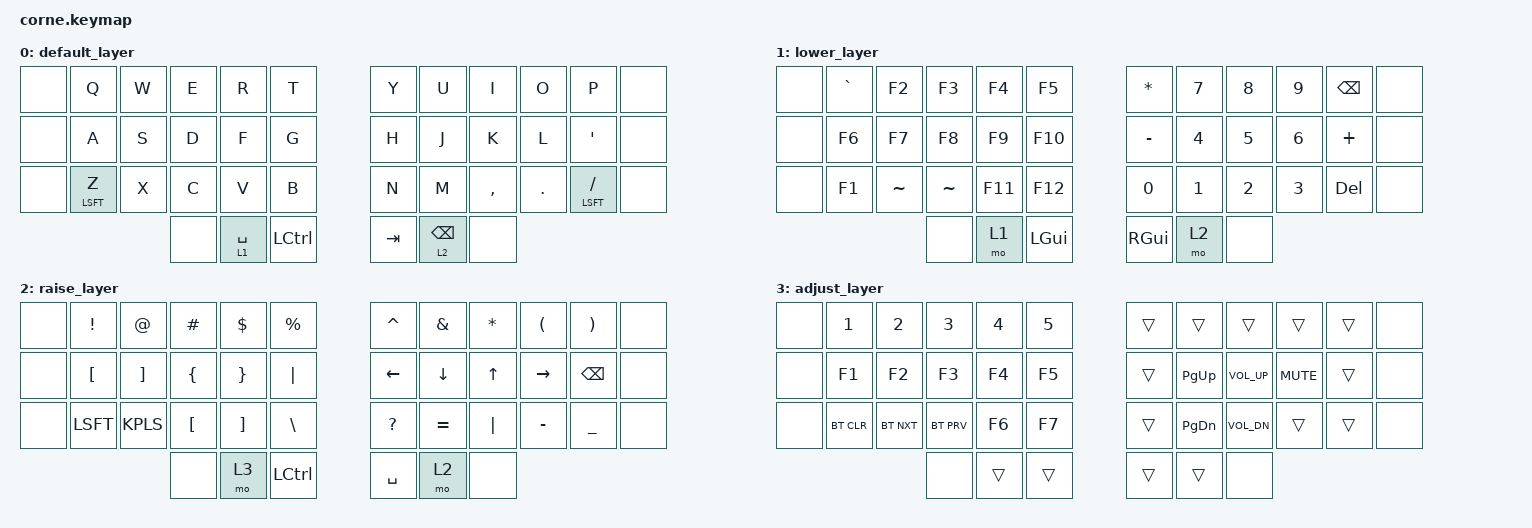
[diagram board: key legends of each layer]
/*
 * Copyright (c) 2020 The ZMK Contributors
 *
 * SPDX-License-Identifier: MIT
 */

#include <behaviors.dtsi>
#include <dt-bindings/zmk/keys.h>
#include <dt-bindings/zmk/bt.h>


#define DEFAULT 0
#define LOWER   1
#define RAISE   2
#define ADJUST  3
#define LWR LOWER
#define RSE RAISE
#define ADJ ADJUST

&mt {
    flavor = "tap-preferred";
    tapping-term-ms = <250>;
    quick_tap_ms = <180>;
};

&lt {
    /* flavor = "balanced"; */
    quick_tap_ms = <200>;
    tapping-term-ms = <180>;
};

/ {
        combos {
           compatible = "zmk,combos";
           combo_esc {
            timeout-ms = <50>;
            key-positions = <13 14>;
            bindings = <&kp ESC>;
        };
        
         combo_tab {
            timeout-ms = <50>;
            key-positions = <1 2>;
            bindings = <&kp TAB>;
        };
        
            combo_bspc {
            timeout-ms = <50>;
            key-positions = <9 10>;
            bindings = <&kp BSPC>;
        };
        
            combo_lalt {
            timeout-ms = <50>;
            key-positions = <14 15>;
            bindings = <&kp LALT>;
        };
        
            combo_lgui {
            timeout-ms = <50>;
            key-positions = <15 16>;
            bindings = <&kp LGUI>;
        };
        
        
            combo_ret {
            timeout-ms = <50>;
            key-positions = <21 22>;
            bindings = <&kp RET>;
        };
        
            combo_ralt {                                                                                                                          
            timeout-ms = <50>;                                                                                                                    
            key-positions = <19 20>;                                                                                                                
            bindings = <&kp RALT>;                                                                                                                
        };

	    combo_rgui {
	    timeout-ms = <50>;
	    key-positions = <20 21>;
	    bindings = <&kp RGUI>;
	};
           combo_lpar {
              timeout-ms = <50>;
              key-positions = <25 26>;
              bindings = <&kp LPAR>;
        };

           combo_rpar {
              timeout-ms = <50>;
              key-positions = <33 34>;
              bindings = <&kp RPAR>;
          };
        };

        conditional_layers {
            compatible = "zmk,conditional-layers";
            tri_layer {
                if-layers = <LOWER RAISE>;
                then-layer = <ADJUST>;
            };
        };

        keymap {
                compatible = "zmk,keymap";

                default_layer {
                        bindings = <
         &none  &kp Q &kp W &kp E &kp R &kp T 				&kp Y &kp U  &kp I &kp O   &kp P &none
	 &none  &kp A &kp S &kp D &kp F &kp G 			        &kp H &kp J  &kp K &kp L   &kp SQT &none
	 &none  &mt LSFT Z &kp X &kp C &kp V &kp B			&kp N &kp M  &kp CMMA &kp DOT &mt LSFT FSLH &none
          	&none	&lt 1 SPC &kp LCTL  				&kp TAB &lt 2 BSPC &none
   /*&none &kp Q      &kp W      &kp E       &kp R        &kp T         &kp Y         &kp U        &kp I        &kp O      &kp P         &none
   &none &mt LCMD A &mt RALT S &mt LCTRL D &mt LSHFT F  &kp G         &kp H         &mt RSHFT J  &mt RCTRL K  &mt RALT L &mt RCMD SEMI &none
   &none &kp Z      &mt LALT X &kp C       &kp V        &kp B         &kp N         &kp M        &kp COMMA    &kp DOT    &kp FSLH      &none
                               &lt RSE ESC &lt LWR QUOT &kp SPACE     &mt RSHFT RET &lt RSE BSPC &lt LWR TAB*/
                        >;
                };
                lower_layer {
                        bindings = <
          &none &kp GRAVE &kp F2      &kp F3    &kp F4    &kp F5		    &kp ASTRK &kp NUM_7  &kp NUM_8 &kp NUM_9 &kp BSPC &none 
	  &none &kp F6    &kp F7      &kp F8    &kp F9    &kp F10 		  &kp MINUS &kp NUM_4  &kp NUM_5 &kp NUM_6 &kp PLUS &none  
	  &none &kp F1    &kp TILDE 	&kp TILDE &kp F11   &kp F12 	    &kp NUM_0 &kp NUM_1  &kp NUM_2 &kp NUM_3  &kp DEL &none 
			&none  &mo 1  &kp LGUI  					&kp RGUI &mo 2 &none 
   /*&none &kp N1   &kp N2   &kp N3      &kp N4       &kp N5        &kp N6   &kp N7         &kp N8       &kp N9         &kp N0     &none
   &none &kp LCMD &kp RALT &kp LCTRL   &kp LSHFT    &none         &kp LEFT &mt RSHFT DOWN &mt RCTRL UP &mt RALT RIGHT &kp RCMD   &none
   &none &none    &kp LALT &none       &kp Y        &none         &kp HOME &kp PG_DN      &kp PG_UP    &mt LALT END   &caps_word &none
                           &lt RSE ESC &lt LWR QUOT &kp SPACE     &mt RSHFT RET &mo RSE &lt LWR TAB*/
                        >;
                };
                raise_layer {
                        bindings = <
          &none &kp EXCL  &kp AT &kp HASH  &kp DLLR  &kp PRCNT    			&kp CARET  &kp AMPS &kp ASTRK &kp LPAR &kp RPAR &none
	  &none	&kp LBKT  &kp RBKT  &kp LBRC &kp RBRC &kp PIPE                          &kp LEFT &kp DOWN  &kp UP  &kp RIGHT   &kp BSPC &none
	  &none	&kp LSFT  &kp KPLS &kp LBKT &kp RBKT   &kp BSLH    			&kp QMARK &kp EQUAL &kp PIPE &kp MINUS  &kp UNDER &none
					&none  &mo 3 &kp LCTL  				&kp SPC  &mo 2 &none
   /*&none &kp EXCL    &kp AT      &kp HASH     &kp DLLR     &kp PRCNT       &kp CARET     &kp AMPS        &kp KP_MULTIPLY &kp LPAR      &kp RPAR      &none
   &none &mt LCMD F1 &mt RALT F2 &mt LCTRL F3 &mt LSHFT F4 &kp F5          &kp MINUS     &mt RSHFT EQUAL &mt RCTRL LBKT  &mt RALT RBKT &mt RCMD BSLH &none
   &none &kp F6      &mt LALT F7 &kp F8       &kp F9       &kp F10         &kp UNDER     &kp PLUS        &kp LBRC        &kp RBRC      &kp PIPE      &none
                                 &lt RSE ESC  &mo LWR      &kp GRAVE       &mt RSHFT RET &lt RSE BSPC    &lt LWR TAB*/
                        >;
                };
                adjust_layer {
                        bindings = <
          &none &kp NUM_1  &kp NUM_2    &kp NUM_3    &kp NUM_4    &kp NUM_5 			&trans &trans   &trans   &trans  &trans &none
  	  &none	&kp F1 &kp F2 &kp F3 &kp F4 &kp F5  				                &trans &kp PG_UP  &kp K_VOL_UP &kp K_MUTE &trans &none
	  &none	&bt BT_CLR  &bt BT_NXT &bt BT_PRV &kp F6 &kp F7   				&trans &kp PG_DN  &kp K_VOL_DN  &trans &trans   &none
				    &none &trans &trans  					&trans &trans &none
   /*&none &bt BT_CLR   &none        &none        &none        &none            &none           &kp K_MUTE   &none &none &bootloader &none
   &none &bt BT_SEL 0 &bt BT_SEL 1 &bt BT_SEL 2 &bt BT_SEL 3 &bt BT_SEL 4     &kp C_BRI_UP    &kp C_VOL_UP &none &none &reset      &none
   &none &none        &none        &none        &none        &none            &kp C_BRI_DN    &kp C_VOL_DN &none &none &none       &none
                                   &none        &none        &none            &none           &none        &none*/
                        >;
                };
        };
};
